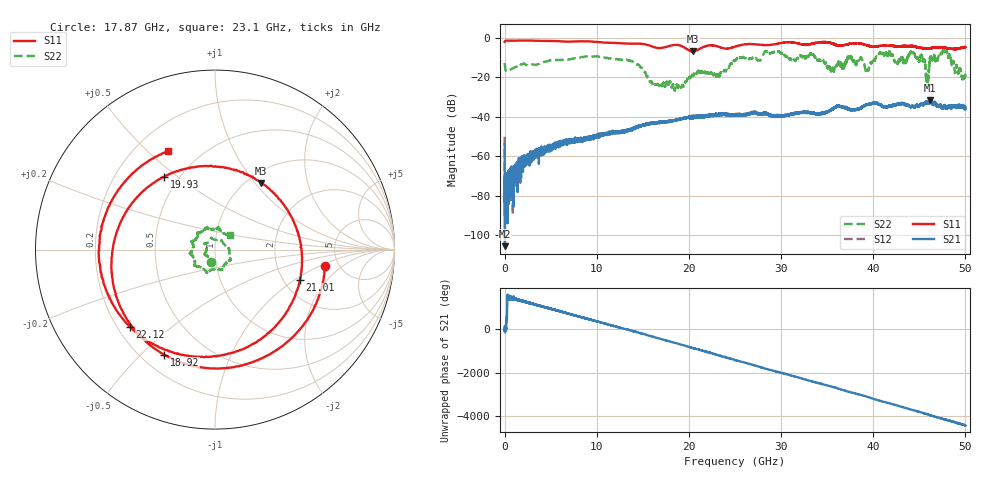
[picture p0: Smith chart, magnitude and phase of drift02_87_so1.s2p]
!Created with skrf (http://scikit-rf.org).
# Hz S RI R 50.0
!freq ReS11 ImS11 ReS21 ImS21 ReS12 ImS12 ReS22 ImS22
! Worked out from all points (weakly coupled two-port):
!   10001 points, 300 kHz to 50 GHz, reference 50 ohm
!   highest |S21| = -31.65 dB at 46.2 GHz (marker M1); lowest = -105.4 dB at 35.3 MHz (marker M2)
!   lowest |S11| = -6.9 dB at 20.43 GHz (marker M3), VSWR 2.64, Z = 57.7 + j53.8 ohm
!   |S11| at or under -10 dB: nowhere
!   |S22| runs from -26.6 to -6.0 dB; largest |S21 - S12| = 0.0033
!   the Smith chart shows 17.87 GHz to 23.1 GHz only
!   S11 on the Smith chart (normalised r, x): 17.87 GHz: 3.89, -1.17; 18.92 GHz: 0.29, -0.59; 19.93 GHz: 0.42, +0.45; 21.01 GHz: 2.44, -1.11; 22.12 GHz: 0.25, -0.37; 23.1 GHz: 0.33, +0.58
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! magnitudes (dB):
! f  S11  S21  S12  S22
! 300 kHz  -2.1  -53.8  -50.1  -12.7
! 35.3 MHz  -1.8  -105.4  -81.7  -14.3
! 260.3 MHz  -1.4  -74.5  -80.5  -17.0
! 3.005 GHz  -1.4  -59.2  -59.8  -13.5
! 8.335 GHz  -1.7  -50.9  -51.1  -9.7
! 13.71 GHz  -3.0  -46.3  -46.5  -11.7
! 16.67 GHz  -5.2  -42.9  -43.0  -23.8
! 17.87 GHz  -4.1  -42.0  -42.3  -22.5
! 18.92 GHz  -3.7  -41.4  -41.3  -23.4
! 19.93 GHz  -6.1  -40.5  -40.2  -19.8
! 20.43 GHz  -6.9  -39.7  -40.3  -19.3
! 21.01 GHz  -6.0  -39.9  -39.9  -16.7
! 22.12 GHz  -3.9  -39.3  -39.2  -17.7
! 23.1 GHz  -4.3  -38.6  -38.7  -18.5
! 25 GHz  -4.5  -38.8  -39.6  -11.6
! 33.34 GHz  -3.0  -38.1  -37.9  -8.4
! 39.33 GHz  -3.8  -34.0  -33.7  -16.6
! 41.67 GHz  -3.9  -34.7  -34.7  -7.6
! 45.87 GHz  -5.4  -32.9  -33.2  -20.7
! 46.2 GHz  -5.2  -31.7  -31.7  -9.4
! 47.75 GHz  -5.0  -34.6  -34.6  -7.2
! 50 GHz  -4.8  -35.5  -36.0  -18.6
